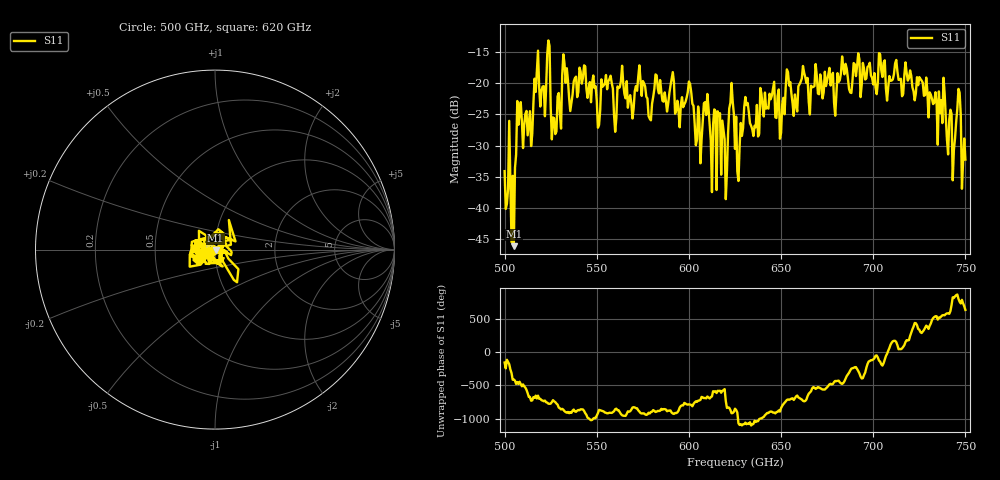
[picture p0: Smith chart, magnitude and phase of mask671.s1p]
!Created with skrf (http://scikit-rf.org).
# GHz S MA R 50.0
!freq magS11 angS11
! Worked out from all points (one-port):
!   401 points, 500 GHz to 750 GHz, reference 50 ohm
!   lowest |S11| = -46.1 dB at 505 GHz (marker M1), VSWR 1.01, Z = 50.3 - j0.397 ohm
!   |S11| at or under -10 dB: start of sweep to end of sweep
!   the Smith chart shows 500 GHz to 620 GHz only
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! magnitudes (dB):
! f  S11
! 500 GHz  -34.1
! 505 GHz  -46.1
! 508.1 GHz  -25.0
! 513.8 GHz  -24.5
! 516.9 GHz  -21.4
! 520.6 GHz  -20.5
! 523.8 GHz  -13.2
! 526.9 GHz  -25.6
! 531.2 GHz  -18.7
! 542.5 GHz  -19.1
! 550.6 GHz  -27.1
! 562.5 GHz  -20.6
! 578.8 GHz  -25.7
! 590.6 GHz  -19.3
! 593.8 GHz  -22.8
! 600 GHz  -19.7
! 605 GHz  -23.7
! 609.4 GHz  -25.1
! 620 GHz  -38.6
! 623.1 GHz  -20.0
! 625 GHz  -30.5
! 626.2 GHz  -34.1
! 656.2 GHz  -23.3
! 687.5 GHz  -21.5
! 718.8 GHz  -19.6
! 743.8 GHz  -30.7
! 746.2 GHz  -20.9
! 750 GHz  -32.2
